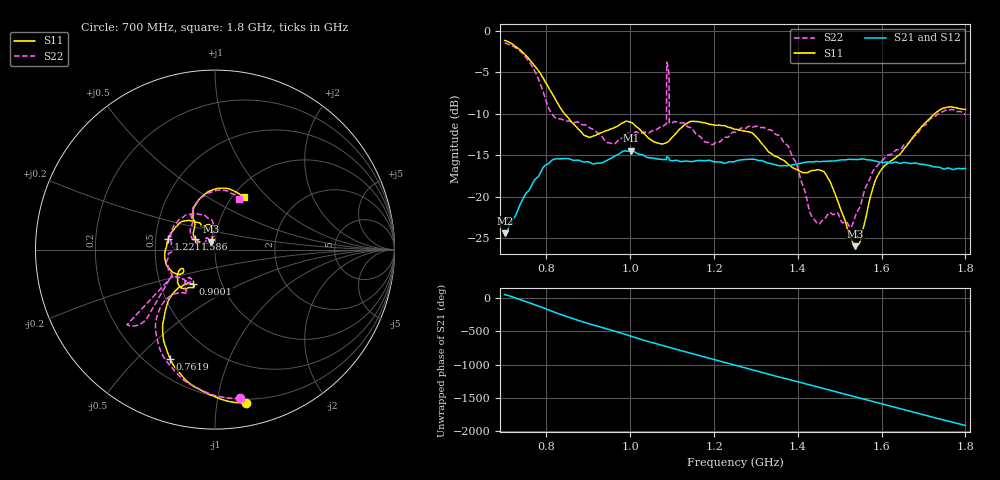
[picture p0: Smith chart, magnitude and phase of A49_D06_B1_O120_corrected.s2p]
! Created with skrf 1.9.0 (http://scikit-rf.org).
# Hz S RI R 50.0
!freq ReS11 ImS11 ReS21 ImS21 ReS12 ImS12 ReS22 ImS22
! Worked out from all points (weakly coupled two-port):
!   1601 points, 700 MHz to 1.8 GHz, reference 50 ohm
!   highest |S21| = -14.44 dB at 1.002 GHz (marker M1); lowest = -24.4 dB at 700.7 MHz (marker M2)
!   lowest |S11| = -26.0 dB at 1.537 GHz (marker M3), VSWR 1.11, Z = 47.5 + j4.24 ohm
!   |S11| at or under -10 dB: 843 MHz to 1.727 GHz (883.9 MHz wide, 68.8 % of centre)
!   |S22| runs from -23.7 to -1.5 dB; largest |S21 - S12| = 0.0035
!   S11 on the Smith chart (normalised r, x): 700 MHz: 0.17, -1.21; 761.9 MHz: 0.29, -0.63; 900.1 MHz: 0.73, -0.30; 1.221 GHz: 0.58, +0.07; 1.586 GHz: 0.79, +0.10; 1.8 GHz: 1.12, +0.74
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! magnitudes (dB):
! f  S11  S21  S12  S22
! 700 MHz  -1.2  -24.4  -24.2  -1.5
! 700.7 MHz  -1.2  -24.4  -24.1  -1.5
! 761.9 MHz  -3.6  -18.9  -18.8  -4.0
! 816.2 MHz  -7.8  -15.5  -15.6  -10.2
! 883.6 MHz  -12.3  -15.7  -15.6  -11.3
! 900.1 MHz  -12.8  -15.8  -15.8  -11.6
! 1.002 GHz  -11.1  -14.4  -14.5  -12.5
! 1.067 GHz  -13.6  -15.5  -15.4  -11.7
! 1.081 GHz  -13.6  -15.5  -15.6  -11.4
! 1.087 GHz  -13.5  -15.2  -15.2  -3.8
! 1.093 GHz  -13.3  -15.4  -15.4  -5.3
! 1.099 GHz  -12.9  -15.7  -15.6  -11.1
! 1.221 GHz  -11.4  -15.9  -15.9  -13.0
! 1.25 GHz  -11.9  -15.7  -15.7  -12.2
! 1.357 GHz  -15.4  -16.3  -16.2  -12.7
! 1.434 GHz  -16.8  -15.8  -15.8  -22.4
! 1.471 GHz  -17.7  -15.7  -15.7  -22.1
! 1.537 GHz  -26.0  -15.5  -15.5  -22.3
! 1.586 GHz  -17.9  -15.7  -15.7  -16.5
! 1.617 GHz  -15.9  -15.9  -15.8  -15.0
! 1.734 GHz  -9.7  -16.4  -16.5  -10.0
! 1.8 GHz  -9.5  -16.6  -16.6  -10.1
